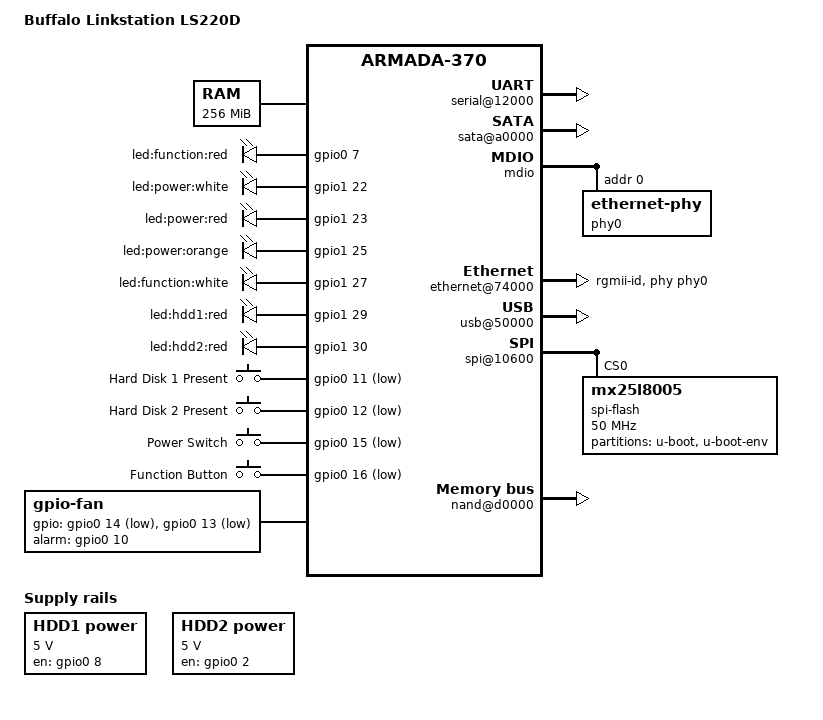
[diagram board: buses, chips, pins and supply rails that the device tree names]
// SPDX-License-Identifier: (GPL-2.0+ OR MIT)
/*
* Device Tree file for Buffalo Linkstation LS220D
*
* Jeremy J. Peper, based on device trees created by
* Steve Shih <shihsung@gmail.com> and Toha <tohenk@yahoo.com>
*
*/

/dts-v1/;

#include <dt-bindings/input/input.h>
#include <dt-bindings/gpio/gpio.h>
#include "armada-370.dtsi"

/ {
	model = "Buffalo Linkstation LS220D";
	compatible = "buffalo,ls220d", "marvell,armada370", "marvell,armada-370-xp";

	chosen
	{
		bootargs = "earlyprintk boot=local";
		stdout-path = "serial0:115200n8";
	};

	memory
	{
		device_type = "memory";
		reg = <0x00000000 0x10000000>; /* 256 MB */
	};

	soc
	{
		ranges = <MBUS_ID(0xf0, 0x01) 0 0xd0000000 0x100000
				  MBUS_ID(0x01, 0xe0) 0 0xfff00000 0x100000
				  MBUS_ID(0x09, 0x01) 0 0xf1100000 0x10000>;

		internal-regs
		{
			serial@12000
			{
				status = "okay";
			};

			sata@a0000
			{
				nr-ports = <2>;
				status = "okay";
			};

			timer@20300
			{
				status = "okay";
			};

			mdio
			{
				/* Marvell 88E1518 */
				phy0: ethernet-phy@0
				{
					reg = <0>;

					/*
					Set control registers for the chip's LED pins
					On=Low, Off=High
					LED0: Force hi-impedance (not connected?)
					LED1: On - Link, Blink - Activity, Off - No Link
					LED2: Force hi-impedance (not connected?)
					*/
 
					marvell,reg-init = <0x3 0x10 0xf000 0x0A1A>;
				};
			};

			ethernet@74000
			{
				status = "okay";
				phy = <&phy0>;
				phy-mode = "rgmii-id";
			};			

			usb@50000
			{
				status = "okay";
			};

			spi@10600
			{
				status = "okay";

				spi-flash@0
				{
					#address-cells = <1>;
					#size-cells = <1>;
					compatible = "mx25l8005", "jedec,spi-nor";
					reg = <0>;
					spi-max-frequency = <50000000>;

					partition@00000
					{
						label = "u-boot";
						reg = <0x00000 0xf0000>;
						read-only;
					};

					partition@f0000
					{
						label = "u-boot-env";
						reg = <0xf0000 0x10000>;
						read-only;
					};
				};
			};

			pinctrl
			{
				hdd_pwr2: hdd-pwr2
				{
					marvell,pins = "mpp2";
					marvell,function = "gpo";
				};

				function_led_red: function-led-red
				{
					marvell,pins = "mpp7";
					marvell,function = "gpo";
				};

				hdd_pwr1: hdd-pwr1
				{
					marvell,pins = "mpp8";
					marvell,function = "gpo";
				};

				fan_alarm: fan-alarm
				{
					marvell,pins = "mpp10";
					marvell,function = "gpio";
				};

				hdd1_present: hdd1-present
				{
					marvell,pins = "mpp11";
					marvell,function = "gpio";
				};

				hdd2_present: hdd2-present
				{
					marvell,pins = "mpp12";
					marvell,function = "gpio";
				};

				fan_high: fan-high
				{
					marvell,pins = "mpp13";
					marvell,function = "gpio";
				};

				fan_low: fan-low
				{
					marvell,pins = "mpp14";
					marvell,function = "gpio";
				};

				power_switch: power-switch
				{
					marvell,pins = "mpp15";
					marvell,function = "gpio";
				};

				function_button: function-button
				{
					marvell,pins = "mpp16";
					marvell,function = "gpio";
				};

				power_led_white: power-led-white
				{
					marvell,pins = "mpp54";
					marvell,function = "gpo";
				};

				power_led_red: power-led-red
				{
					marvell,pins = "mpp55";
					marvell,function = "gpio";
				};

				power_led_orange: power-led-orange
				{
					marvell,pins = "mpp57";
					marvell,function = "gpio";
				};

				function_led_white: function-led-white
				{
					marvell,pins = "mpp59";
					marvell,function = "gpo";
				};

				hdd1_led_red: hdd1-led-red
				{
					marvell,pins = "mpp61";
					marvell,function = "gpo";
				};

				hdd2_led_red: hdd2-led-red
				{
					marvell,pins = "mpp62";
					marvell,function = "gpio";
				};
			};

			nand@d0000
			{
				status = "okay";
				num-cs = <1>;
				marvell,nand-keep-config;
				marvell,nand-enable-arbiter;
				nand-on-flash-bbt;

				/* Use Hardware BCH ECC */
				nand-ecc-strength = <4>;
				nand-ecc-step-size = <512>;

				partition@0
				{
					label = "boot";
					reg = <0x00000000 0x02000000>;  /* 32MB */
				};

				partition@02100000
				{
					label = "rootfs";
					reg = <0x02000000 0x1e000000>;  /* 480MB */
				};
			};
		};
	};

	regulators
	{
		compatible = "simple-bus";
		#address-cells = <1>;
		#size-cells = <0>;
		pinctrl-0 = <&hdd_pwr1 &hdd_pwr2>;
		pinctrl-names = "default";

		regulator@1
		{
			compatible = "regulator-fixed";
			reg = <1>;
			regulator-name = "HDD1 power";
			regulator-min-microvolt = <5000000>;
			regulator-max-microvolt = <5000000>;
			enable-active-high;
			regulator-always-on;
			regulator-boot-on;
			gpio = <&gpio0 8 GPIO_ACTIVE_HIGH>;
		};

		regulator@2
		{
			compatible = "regulator-fixed";
			reg = <2>;
			regulator-name = "HDD2 power";
			regulator-min-microvolt = <5000000>;
			regulator-max-microvolt = <5000000>;
			enable-active-high;
			regulator-always-on;
			regulator-boot-on;
			gpio = <&gpio0 2 GPIO_ACTIVE_HIGH>;
		};
	};

	gpio-leds
	{
		compatible = "gpio-leds";
		pinctrl-names = "default";
		pinctrl-0 = <&power_led_white &power_led_red &power_led_orange &function_led_red &function_led_white 
				&hdd1_led_red &hdd2_led_red>;

		function-led-red
		{
			label = "led:function:red";
			gpios = <&gpio0 7 GPIO_ACTIVE_HIGH>;
			default-state = "off";
		};

		power-led-white
		{
			label = "led:power:white";
			gpios = <&gpio1 22 GPIO_ACTIVE_HIGH>;
			default-state = "on";
		};

		power-led-red
		{
			label = "led:power:red";
			gpios = <&gpio1 23 GPIO_ACTIVE_HIGH>;
			default-state = "off";
		};

		power-led-orange
		{
			label = "led:power:orange";
			gpios = <&gpio1 25 GPIO_ACTIVE_HIGH>;
			default-state = "off";
		};

		function-led-white
		{
			label = "led:function:white";
			gpios = <&gpio1 27 GPIO_ACTIVE_HIGH>;
			default-state = "off";
		};

		hdd1-led-red
		{
			label = "led:hdd1:red";
			gpios = <&gpio1 29 GPIO_ACTIVE_HIGH>;
			default-state = "off";
		};

		hdd2-led-red
		{
			label = "led:hdd2:red";
			gpios = <&gpio1 30 GPIO_ACTIVE_HIGH>;
			default-state = "off";
		};
	};

	restart_poweroff
	{
		compatible = "restart-poweroff";
	};

	gpio-keys
	{
		compatible = "gpio-keys";
		pinctrl-0 = <&power_switch &function_button &hdd1_present &hdd2_present>;
		pinctrl-names = "default";

		hdd1-present
		{
			label = "Hard Disk 1 Present";
			linux,code = <KEY_PROG1>;
			gpios = <&gpio0 11 GPIO_ACTIVE_LOW>;
		};

		hdd2-present
		{
			label = "Hard Disk 2 Present";
			linux,code = <KEY_PROG2>;
			gpios = <&gpio0 12 GPIO_ACTIVE_LOW>;
		};

		power-switch
		{
			label = "Power Switch";
			linux,code = <KEY_ESC>;
			gpios = <&gpio0 15 GPIO_ACTIVE_LOW>;
		};

		function-button
		{
			label = "Function Button";
			linux,code = <KEY_OPTION>;
			gpios = <&gpio0 16 GPIO_ACTIVE_LOW>;
		};
	};

	gpio-fan
	{
		compatible = "gpio-fan";
		pinctrl-0 = <&fan_low &fan_high &fan_alarm>;
		pinctrl-names = "default";
		gpios = <&gpio0 14 GPIO_ACTIVE_LOW
		         &gpio0 13 GPIO_ACTIVE_LOW>;
		gpio-fan,speed-map = <0    3
		                      1500 2
		                      3250 1
		                      5000 0>;
		alarm-gpios = <&gpio0 10 GPIO_ACTIVE_HIGH>;
	};
};
